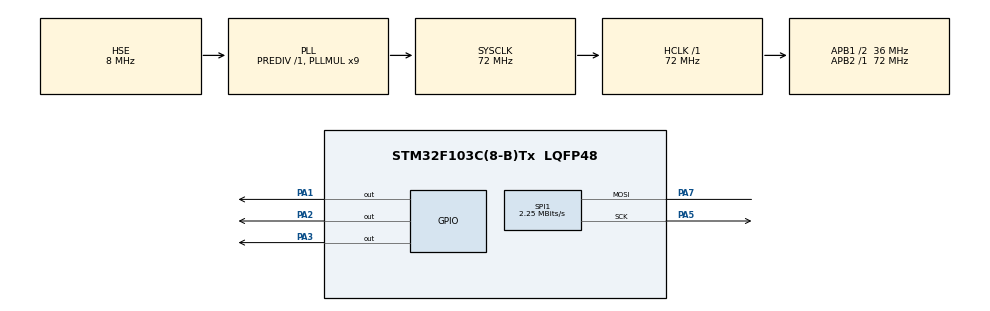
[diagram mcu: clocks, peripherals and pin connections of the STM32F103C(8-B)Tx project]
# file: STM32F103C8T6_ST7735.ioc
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Mcu.Family=STM32F1
Mcu.Name=STM32F103C(8-B)Tx
Mcu.Package=LQFP48
NVIC.PriorityGroup=NVIC_PRIORITYGROUP_4
PA1.Signal=GPIO_Output
PA13.Mode=Serial_Wire
PA13.Signal=SYS_JTMS-SWDIO
PA14.Mode=Serial_Wire
PA14.Signal=SYS_JTCK-SWCLK
PA2.Signal=GPIO_Output
PA3.Signal=GPIO_Output
PA5.Mode=Simplex_Bidirectional_Master
PA5.Signal=SPI1_SCK
PA7.Mode=Simplex_Bidirectional_Master
PA7.Signal=SPI1_MOSI
PD0-OSC_IN.Mode=HSE-External-Oscillator
PD0-OSC_IN.Signal=RCC_OSC_IN
PD1-OSC_OUT.Mode=HSE-External-Oscillator
PD1-OSC_OUT.Signal=RCC_OSC_OUT
ProjectManager.HeapSize=0x200
ProjectManager.StackSize=0x400
ProjectManager.TargetToolchain=STM32CubeIDE
RCC.AHBFreq_Value=72000000
RCC.APB1CLKDivider=RCC_HCLK_DIV2
RCC.APB1Freq_Value=36000000
RCC.APB1TimFreq_Value=72000000
RCC.APB2Freq_Value=72000000
RCC.APB2TimFreq_Value=72000000
RCC.HCLKFreq_Value=72000000
RCC.PLLMUL=RCC_PLL_MUL9
RCC.PLLSourceVirtual=RCC_PLLSOURCE_HSE
RCC.SYSCLKFreq_VALUE=72000000
RCC.SYSCLKSource=RCC_SYSCLKSOURCE_PLLCLK
RCC.USBFreq_Value=72000000
SPI1.BaudRatePrescaler=SPI_BAUDRATEPRESCALER_32
SPI1.CalculateBaudRate=2.25 MBits/s
SPI1.Direction=SPI_DIRECTION_1LINE
SPI1.Mode=SPI_MODE_MASTER
SPI1.VirtualType=VM_MASTER
board=custom

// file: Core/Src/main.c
/* USER CODE BEGIN Header */
/**
  ******************************************************************************
  * @file           : main.c
  * @brief          : Main program body
  ******************************************************************************
  * @attention
  *
  * Copyright (c) 2025 STMicroelectronics.
  * All rights reserved.
  *
  * This software is licensed under terms that can be found in the LICENSE file
  * in the root directory of this software component.
  * If no LICENSE file comes with this software, it is provided AS-IS.
  *
  ******************************************************************************
  */
/* USER CODE END Header */
#include "main.h"

/* USER CODE BEGIN Includes */
#include "ST7735.h"
#include "GFX_FUNCTIONS.h"
/* USER CODE END Includes */

SPI_HandleTypeDef hspi1;

void SystemClock_Config(void);
static void MX_GPIO_Init(void);
static void MX_SPI1_Init(void);

int main(void)
{

  /* MCU Configuration--------------------------------------------------------*/

  /* Reset of all peripherals, Initializes the Flash interface and the Systick. */
  HAL_Init();

  /* Configure the system clock */
  SystemClock_Config();

  /* Initialize all configured peripherals */
  MX_GPIO_Init();
  MX_SPI1_Init();
  /* USER CODE BEGIN 2 */
  ST7735_Init(0);
  fillScreen(BLACK);
  /* USER CODE END 2 */

  /* Infinite loop */
  /* USER CODE BEGIN WHILE */
  while (1)
  {
	  ST7735_SetRotation(1);
	  ST7735_WriteString(0, 0, "HELLO", Font_11x18, RED,BLACK);
	  HAL_Delay(500);
	  //fillScreen(BLACK);

	  ST7735_SetRotation(1);
	  ST7735_WriteString(0, 20, "FROM", Font_11x18, GREEN,BLACK);
	  HAL_Delay(500);
	  //fillScreen(BLACK);

	  ST7735_SetRotation(1);
	  ST7735_WriteString(0, 40, "CYBERNETICS", Font_11x18, BLUE,BLACK);
	  HAL_Delay(500);
	  //fillScreen(BLACK);

	  ST7735_SetRotation(1);
	  ST7735_WriteString(0, 60, "HI-TECH", Font_11x18, YELLOW,BLACK);
	  HAL_Delay(500);
	  //fillScreen(BLACK);

	  ST7735_SetRotation(1);
	  ST7735_WriteString(0, 80, "SOLUTION", Font_11x18, YELLOW,BLACK);
	  HAL_Delay(500);
	  fillScreen(BLACK);
    /* USER CODE END WHILE */

  }
}

void SystemClock_Config(void)
{
  RCC_OscInitTypeDef RCC_OscInitStruct = {0};
  RCC_ClkInitTypeDef RCC_ClkInitStruct = {0};

  /** Initializes the RCC Oscillators according to the specified parameters
  * in the RCC_OscInitTypeDef structure.
  */
  RCC_OscInitStruct.OscillatorType = RCC_OSCILLATORTYPE_HSE;
  RCC_OscInitStruct.HSEState = RCC_HSE_ON;
  RCC_OscInitStruct.HSEPredivValue = RCC_HSE_PREDIV_DIV1;
  RCC_OscInitStruct.HSIState = RCC_HSI_ON;
  RCC_OscInitStruct.PLL.PLLState = RCC_PLL_ON;
  RCC_OscInitStruct.PLL.PLLSource = RCC_PLLSOURCE_HSE;
  RCC_OscInitStruct.PLL.PLLMUL = RCC_PLL_MUL9;
  if (HAL_RCC_OscConfig(&RCC_OscInitStruct) != HAL_OK)
  {
    Error_Handler();
  }

  /** Initializes the CPU, AHB and APB buses clocks
  */
  RCC_ClkInitStruct.ClockType = RCC_CLOCKTYPE_HCLK|RCC_CLOCKTYPE_SYSCLK
                              |RCC_CLOCKTYPE_PCLK1|RCC_CLOCKTYPE_PCLK2;
  RCC_ClkInitStruct.SYSCLKSource = RCC_SYSCLKSOURCE_PLLCLK;
  RCC_ClkInitStruct.AHBCLKDivider = RCC_SYSCLK_DIV1;
  RCC_ClkInitStruct.APB1CLKDivider = RCC_HCLK_DIV2;
  RCC_ClkInitStruct.APB2CLKDivider = RCC_HCLK_DIV1;

  if (HAL_RCC_ClockConfig(&RCC_ClkInitStruct, FLASH_LATENCY_2) != HAL_OK)
  {
    Error_Handler();
  }
}

static void MX_SPI1_Init(void)
{

  /* SPI1 parameter configuration*/
  hspi1.Instance = SPI1;
  hspi1.Init.Mode = SPI_MODE_MASTER;
  hspi1.Init.Direction = SPI_DIRECTION_1LINE;
  hspi1.Init.DataSize = SPI_DATASIZE_8BIT;
  hspi1.Init.CLKPolarity = SPI_POLARITY_LOW;
  hspi1.Init.CLKPhase = SPI_PHASE_1EDGE;
  hspi1.Init.NSS = SPI_NSS_SOFT;
  hspi1.Init.BaudRatePrescaler = SPI_BAUDRATEPRESCALER_32;
  hspi1.Init.FirstBit = SPI_FIRSTBIT_MSB;
  hspi1.Init.TIMode = SPI_TIMODE_DISABLE;
  hspi1.Init.CRCCalculation = SPI_CRCCALCULATION_DISABLE;
  hspi1.Init.CRCPolynomial = 10;
  if (HAL_SPI_Init(&hspi1) != HAL_OK)
  {
    Error_Handler();
  }

}

static void MX_GPIO_Init(void)
{
  GPIO_InitTypeDef GPIO_InitStruct = {0};

  /* GPIO Ports Clock Enable */
  __HAL_RCC_GPIOD_CLK_ENABLE();
  __HAL_RCC_GPIOA_CLK_ENABLE();

  /*Configure GPIO pin Output Level */
  HAL_GPIO_WritePin(GPIOA, GPIO_PIN_1|GPIO_PIN_2|GPIO_PIN_3, GPIO_PIN_RESET);

  /*Configure GPIO pins : PA1 PA2 PA3 */
  GPIO_InitStruct.Pin = GPIO_PIN_1|GPIO_PIN_2|GPIO_PIN_3;
  GPIO_InitStruct.Mode = GPIO_MODE_OUTPUT_PP;
  GPIO_InitStruct.Pull = GPIO_NOPULL;
  GPIO_InitStruct.Speed = GPIO_SPEED_FREQ_LOW;
  HAL_GPIO_Init(GPIOA, &GPIO_InitStruct);

}

void Error_Handler(void)
{
  __disable_irq();
  while (1)
  {
  }
}
